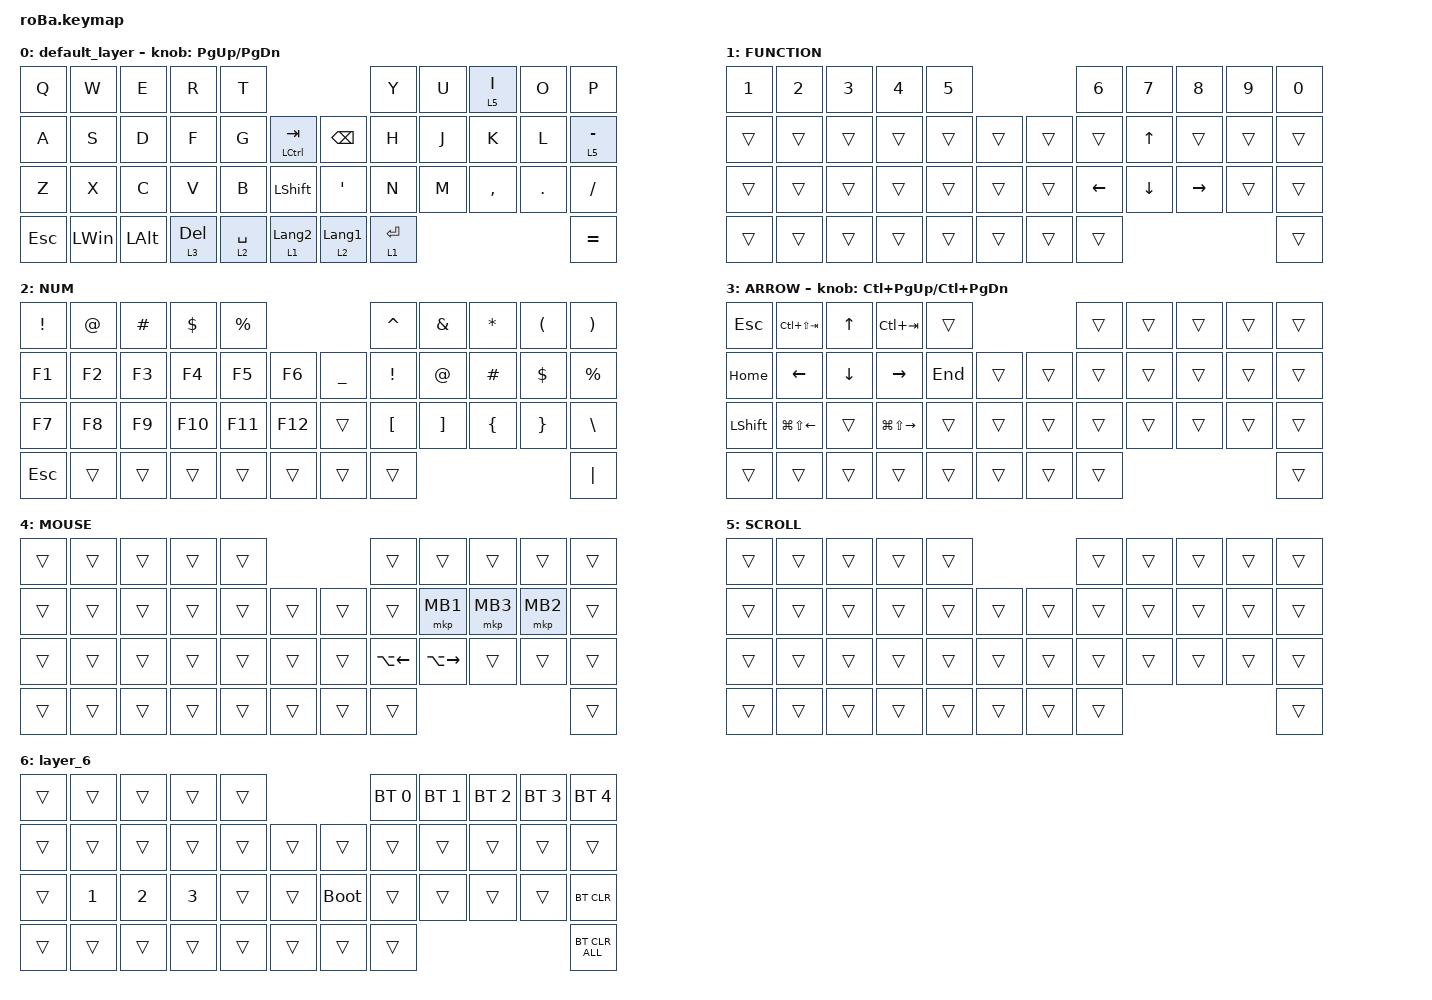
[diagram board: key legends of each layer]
#include <behaviors.dtsi>
#include <dt-bindings/zmk/bt.h>
#include <dt-bindings/zmk/keys.h>
#include <dt-bindings/zmk/pointing.h>

#define MOUSE 4
#define SCROLL 5
#define NUM 6

&mt {
    flavor = "balanced";
    quick-tap-ms = <0>;
};

/ {
    combos {
        compatible = "zmk,combos";

        tab {
            bindings = <&kp TAB>;
            key-positions = <11 12>;
        };

        shift_tab {
            bindings = <&kp LS(TAB)>;
            key-positions = <12 13>;
        };

        muhennkann {
            bindings = <&to_layer_0 INT_MUHENKAN>;
            key-positions = <11 10>;
        };

        double_quotation {
            bindings = <&kp DOUBLE_QUOTES>;
            key-positions = <20 21>;
        };

        eq {
            bindings = <&kp EQUAL>;
            key-positions = <24 25>;
        };
    };

    macros {
        to_layer_0: to_layer_0 {
            compatible = "zmk,behavior-macro-one-param";
            #binding-cells = <1>;
            bindings = <&to 0 &macro_param_1to1 &kp MACRO_PLACEHOLDER>;
            label = "TO_LAYER_0";
        };
    };

    behaviors {
        lt_to_layer_0: lt_to_layer_0 {
            compatible = "zmk,behavior-hold-tap";
            label = "LAYER_TAP_TO_0";
            bindings = <&mo>, <&to_layer_0>;

            #binding-cells = <2>;
            tapping-term-ms = <200>;
        };
    };

    keymap {
        compatible = "zmk,keymap";

        default_layer {
            bindings = <
&kp Q    &kp W         &kp E         &kp R      &kp T                                                &kp Y        &kp U  &lt 5 I    &kp O    &kp P
&kp A    &kp S         &kp D         &kp F      &kp G        &mt LCTRL TAB         &kp BACKSPACE     &kp H        &kp J  &kp K      &kp L    &lt_to_layer_0 5 MINUS
&kp Z    &kp X         &kp C         &kp V      &kp B        &kp LEFT_SHIFT        &kp SQT           &kp N        &kp M  &kp COMMA  &kp DOT  &kp SLASH
&kp ESC  &kp LEFT_WIN  &kp LEFT_ALT  &lt 3 DEL  &lt 2 SPACE  &lt 1 LANGUAGE_2      &lt 2 LANGUAGE_1  &lt 1 ENTER                             &kp EQUAL
            >;

            sensor-bindings = <&inc_dec_kp PG_UP PAGE_DOWN>;
        };

        FUNCTION {
            bindings = <
&kp N1  &kp N2  &kp N3  &kp N4  &kp N5                      &kp N6    &kp N7    &kp N8     &kp N9  &kp N0
&trans  &trans  &trans  &trans  &trans  &trans      &trans  &trans    &kp UP    &trans     &trans  &trans
&trans  &trans  &trans  &trans  &trans  &trans      &trans  &kp LEFT  &kp DOWN  &kp RIGHT  &trans  &trans
&trans  &trans  &trans  &trans  &trans  &trans      &trans  &trans                                 &trans
            >;
        };

        NUM {
            bindings = <
&kp EXCLAMATION  &kp AT_SIGN  &kp HASH  &kp DOLLAR  &kp PERCENT                               &kp CARET         &kp AMPERSAND      &kp ASTERISK    &kp LEFT_PARENTHESIS  &kp RIGHT_PARENTHESIS
&kp F1           &kp F2       &kp F3    &kp F4      &kp F5       &kp F6       &kp UNDERSCORE  &kp EXCLAMATION   &kp AT_SIGN        &kp HASH        &kp DOLLAR            &kp PERCENT
&kp F7           &kp F8       &kp F9    &kp F10     &kp F11      &kp F12      &trans          &kp LEFT_BRACKET  &kp RIGHT_BRACKET  &kp LEFT_BRACE  &kp RIGHT_BRACE       &kp BACKSLASH
&kp ESC          &trans       &trans    &trans      &trans       &trans       &trans          &trans                                                                     &kp PIPE
            >;
        };

        ARROW {
            bindings = <
&kp ESCAPE      &kp LC(LS(TAB))         &kp UP_ARROW    &kp LC(TAB)              &trans                       &trans  &trans  &trans  &trans  &trans
&kp HOME        &kp LEFT_ARROW          &kp DOWN_ARROW  &kp RIGHT_ARROW          &kp END  &trans      &trans  &trans  &trans  &trans  &trans  &trans
&kp LEFT_SHIFT  &kp LG(LS(LEFT_ARROW))  &trans          &kp LG(LS(RIGHT_ARROW))  &trans   &trans      &trans  &trans  &trans  &trans  &trans  &trans
&trans          &trans                  &trans          &trans                   &trans   &trans      &trans  &trans                          &trans
            >;

            sensor-bindings = <&inc_dec_kp LC(PAGE_UP) LC(PAGE_DOWN)>;
        };

        MOUSE {
            bindings = <
&trans  &trans  &trans  &trans  &trans                      &trans              &trans               &trans    &trans    &trans
&trans  &trans  &trans  &trans  &trans  &trans      &trans  &trans              &mkp MB1             &mkp MB3  &mkp MB2  &trans
&trans  &trans  &trans  &trans  &trans  &trans      &trans  &kp LA(LEFT_ARROW)  &kp LA(RIGHT_ARROW)  &trans    &trans    &trans
&trans  &trans  &trans  &trans  &trans  &trans      &trans  &trans                                                       &trans
            >;
        };

        SCROLL {
            bindings = <
&trans  &trans  &trans  &trans  &trans                      &trans  &trans  &trans  &trans  &trans
&trans  &trans  &trans  &trans  &trans  &trans      &trans  &trans  &trans  &trans  &trans  &trans
&trans  &trans  &trans  &trans  &trans  &trans      &trans  &trans  &trans  &trans  &trans  &trans
&trans  &trans  &trans  &trans  &trans  &trans      &trans  &trans                          &trans
            >;
        };

        layer_6 {
            bindings = <
&trans  &trans        &trans        &trans        &trans                           &bt BT_SEL 0  &bt BT_SEL 1  &bt BT_SEL 2  &bt BT_SEL 3  &bt BT_SEL 4
&trans  &trans        &trans        &trans        &trans  &trans      &trans       &trans        &trans        &trans        &trans        &trans
&trans  &kp NUMBER_1  &kp NUMBER_2  &kp NUMBER_3  &trans  &trans      &bootloader  &trans        &trans        &trans        &trans        &bt BT_CLR
&trans  &trans        &trans        &trans        &trans  &trans      &trans       &trans                                                  &bt BT_CLR_ALL
            >;
        };
    };
};
